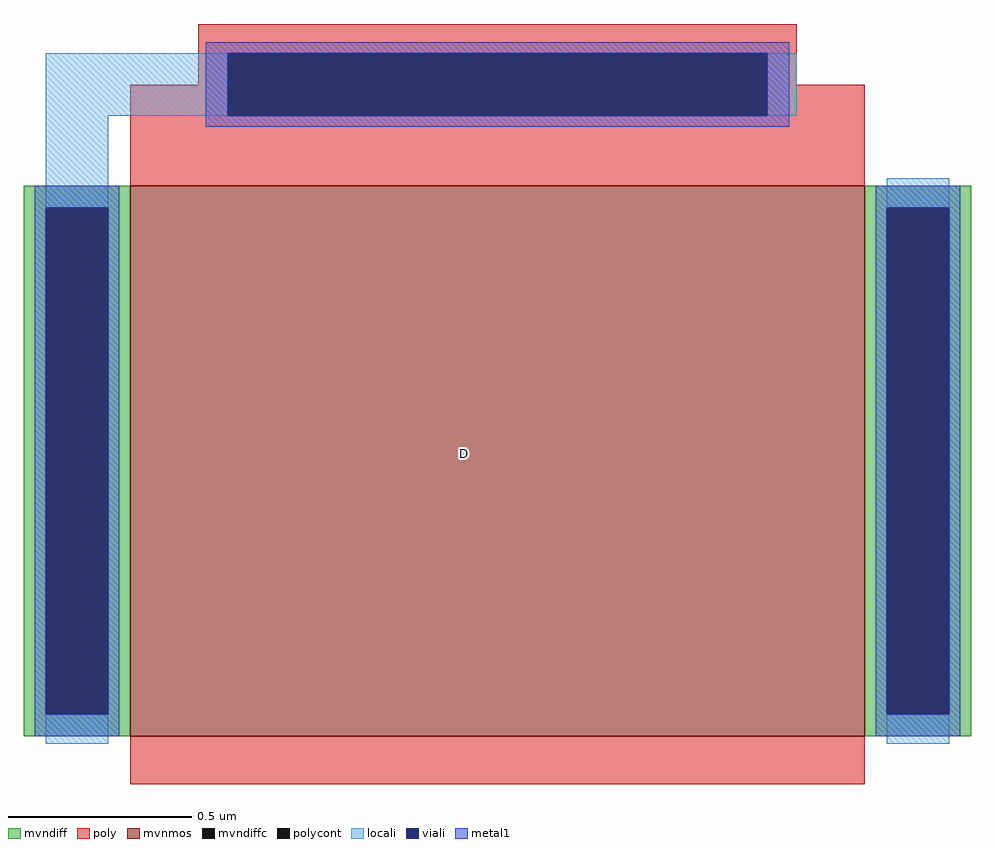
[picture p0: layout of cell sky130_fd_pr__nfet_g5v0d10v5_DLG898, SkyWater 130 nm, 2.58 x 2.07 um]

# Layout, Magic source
magic
tech sky130A
magscale 1 2
<< mvnmos >>
rect -200 -181 200 119
<< mvndiff >>
rect -258 107 -200 119
rect -258 -169 -246 107
rect -212 -169 -200 107
rect -258 -181 -200 -169
rect 200 107 258 119
rect 200 -169 212 107
rect 246 -169 258 107
rect 200 -181 258 -169
<< mvndiffc >>
rect -246 -169 -212 107
rect 212 -169 246 107
<< poly >>
rect -163 191 163 207
rect -163 174 -147 191
rect -200 157 -147 174
rect 147 174 163 191
rect 147 157 200 174
rect -200 119 200 157
rect -200 -207 200 -181
<< polycont >>
rect -147 157 147 191
<< locali >>
rect -246 157 -147 191
rect 147 157 163 191
rect -246 107 -212 157
rect -246 -185 -212 -169
rect 212 107 246 123
rect 212 -185 246 -169
<< viali >>
rect -147 157 147 191
rect -246 -169 -212 107
rect 212 -169 246 107
<< metal1 >>
rect -159 191 159 197
rect -159 157 -147 191
rect 147 157 159 191
rect -159 151 159 157
rect -252 107 -206 119
rect -252 -169 -246 107
rect -212 -169 -206 107
rect -252 -181 -206 -169
rect 206 107 252 119
rect 206 -169 212 107
rect 246 -169 252 107
rect 206 -181 252 -169
<< labels >>
flabel mvnmos -86 -77 50 23 0 FreeSans 320 0 0 0 D
<< properties >>
string gencell sky130_fd_pr__nfet_g5v0d10v5
string library sky130
string parameters w 1.5 l 2 m 1 nf 1 diffcov 100 polycov 80 guard 0 glc 1 grc 1 gtc 1 gbc 1 tbcov 100 rlcov 100 topc 1 botc 0 poverlap 0 doverlap 1 lmin 0.50 wmin 0.42 class mosfet compatible {sky130_fd_pr__nfet_01v8 sky130_fd_pr__nfet_01v8_lvt  sky130_fd_bs_flash__special_sonosfet_star  sky130_fd_pr__nfet_g5v0d10v5 sky130_fd_pr__nfet_05v0_nvt  sky130_fd_pr__nfet_03v3_nvt} full_metal 1 viasrc 100 viadrn 100 viagate 80 viagb 0 viagr 0 viagl 0 viagt 0
<< end >>
